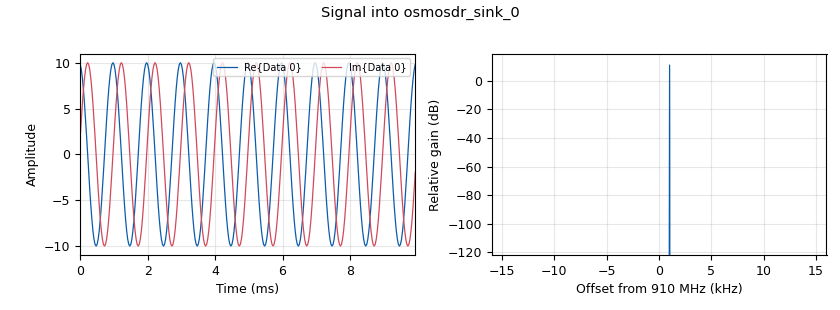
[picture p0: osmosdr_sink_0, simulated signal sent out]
options:
  parameters:
    generate_options: qt_gui
    id: top_block
    output_language: python
  states: {}

blocks:
- name: samp_rate
  id: variable
  parameters:
    value: int(32e3)
  states: {}
- name: analog_sig_source_x_0
  id: analog_sig_source_x
  parameters:
    amp: '10'
    freq: '1000'
    offset: '0'
    phase: '0'
    samp_rate: samp_rate
    type: complex
    waveform: analog.GR_SIN_WAVE
  states: {}
- name: osmosdr_sink_0
  id: osmosdr_sink
  parameters:
    args: ''
    bb_gain0: '20'
    freq0: 910e6
    gain0: '20'
    if_gain0: '20'
    sample_rate: samp_rate
    sync: sync
    type: fc32
  states: {}

connections:
- [analog_sig_source_x_0, '0', osmosdr_sink_0, '0']

metadata:
  file_format: 1
